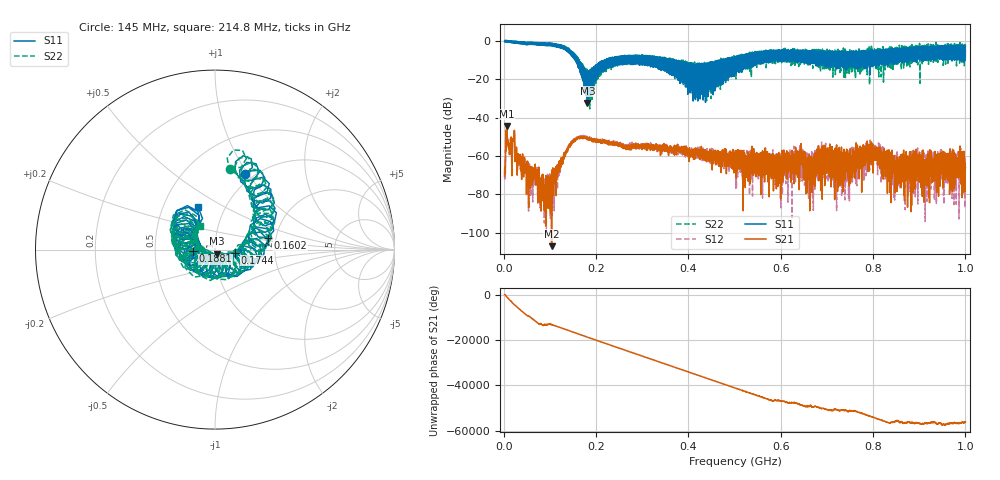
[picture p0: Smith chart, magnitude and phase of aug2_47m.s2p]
!Keysight Technologies N9923A: A.12.45
!Date: Saturday, 02 August 2025 20:02:25
!Timezone: (UTC+08:00) Kuala Lumpur, Singapore
!Model: N9923A
!Serial: MY61181427
!GPS Latitude:
!GPS Longitude:
!GPS TimeStamp: 0001-01-01 00:00:00Z
!GPS Seconds Since Last Read: 0
!CHECKSUM:0039369910
!Correction: S11(ON U)S21(ON U)S12(ON U)S22(ON U)
!S2P File: Measurements:S11,S21,S12,S22:
# Hz S DB R 50
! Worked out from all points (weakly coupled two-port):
!   4001 points, 2 MHz to 1 GHz, reference 50 ohm
!   highest |S21| = -44.31 dB at 6.491 MHz (marker M1); lowest = -107.0 dB at 103.8 MHz (marker M2)
!   lowest |S11| = -32.4 dB at 181.1 MHz (marker M3), VSWR 1.05, Z = 51 - j2.23 ohm
!   |S11| at or under -10 dB: 162.3 MHz to 218.5 MHz (56.14 MHz wide, 29.5 % of centre); 218.6 MHz to 220.1 MHz (1.453 MHz wide, 0.663 % of centre); 369.5 MHz to 473 MHz (103.5 MHz wide, 24.6 % of centre) (the widest 3 of 362)
!   |S22| runs from -35.5 to 0.2 dB; largest |S21 - S12| = 0.0027
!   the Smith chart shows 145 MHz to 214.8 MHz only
!   S11 on the Smith chart (normalised r, x): 145 MHz: 0.92, +0.96; 160.2 MHz: 1.81, +0.26; 174.4 MHz: 1.25, -0.04; 188.1 MHz: 0.78, -0.01; 214.8 MHz: 0.74, +0.38
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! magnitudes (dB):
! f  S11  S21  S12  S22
! 2 MHz  -0.1  -70.6  -69.6  -0.1
! 6.491 MHz  0.0  -44.3  -44.0  0.1
! 23.46 MHz  -0.2  -47.4  -47.1  -0.2
! 33.69 MHz  -0.7  -63.9  -63.3  -0.6
! 83.09 MHz  -2.2  -75.7  -73.1  -2.2
! 103.8 MHz  -1.3  -107.0  -76.5  -1.4
! 145 MHz  -6.9  -53.5  -53.5  -6.8
! 160.2 MHz  -10.4  -50.9  -50.2  -11.2
! 168.4 MHz  -14.9  -50.4  -50.1  -15.9
! 174.4 MHz  -18.9  -49.9  -49.4  -15.2
! 181.1 MHz  -32.4  -51.2  -51.3  -19.0
! 188.1 MHz  -18.3  -51.9  -51.2  -26.2
! 214.8 MHz  -11.8  -52.3  -52.3  -16.0
! 334.8 MHz  -12.4  -55.5  -55.8  -8.8
! 415.4 MHz  -30.7  -57.6  -57.2  -13.6
! 501 MHz  -11.5  -62.2  -62.1  -12.7
! 646 MHz  -5.3  -62.4  -62.4  -10.1
! 667.4 MHz  -5.6  -67.9  -67.1  -9.6
! 679.1 MHz  -6.4  -64.2  -59.3  -7.7
! 805.1 MHz  -7.2  -57.8  -61.2  -7.3
! 833.8 MHz  -5.3  -73.0  -66.5  -5.0
! 1 GHz  -5.1  -66.1  -68.2  -1.8
